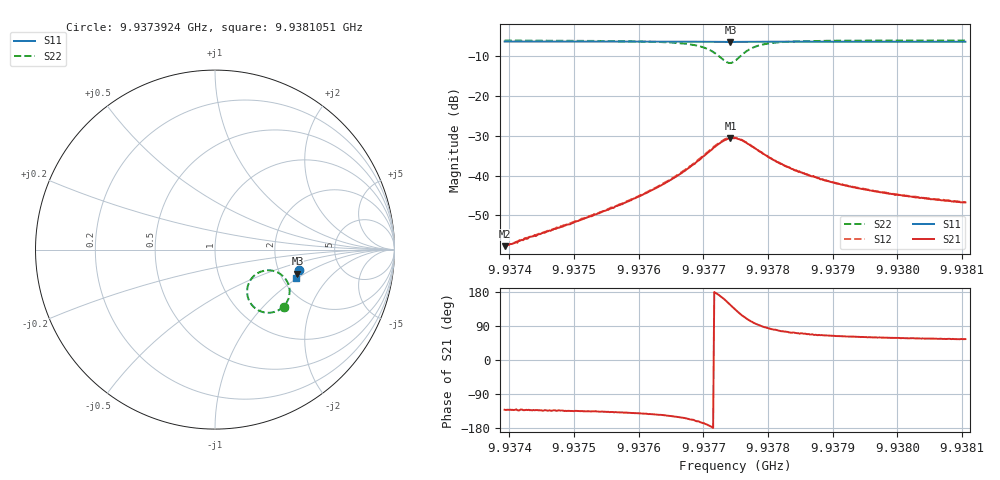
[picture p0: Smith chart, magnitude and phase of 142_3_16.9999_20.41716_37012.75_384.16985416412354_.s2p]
#  HZ  S  RI  R  50.00
! Rohde & Schwarz Vector Network Analyzer
! Rohde-Schwarz,ZNB20-2Port,1311601062101988,3.16
! Created: UTC 3/20/2024, 10:58:24 PM
! freq[Hz]  re:S11  im:S11  re:S21  im:S21  re:S12  im:S12  re:S22  im:S22
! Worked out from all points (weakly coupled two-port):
!   401 points, 9.9373924 GHz to 9.9381051 GHz, reference 50 ohm
!   highest |S21| = -30.57 dB at 9.9377416 GHz (marker M1); lowest = -57.7 dB at 9.9373924 GHz (marker M2)
!   lowest |S11| = -6.4 dB at 9.9377416 GHz (marker M3), VSWR 2.83, Z = 124 - j43.1 ohm
!   |S11| at or under -10 dB: nowhere
!   |S22| runs from -11.7 to -6.0 dB; largest |S21 - S12| = 0.0014
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9.93739245e9  0.4698 -0.1123  -0.000855 -0.000977  -0.000877 -0.000982  0.3824 -0.3175
9.93751182e9  0.4671 -0.1205  -0.00197 -0.00199  -0.00205 -0.00202  0.3665 -0.3299
9.93757595e9  0.4657 -0.1249  -0.00336 -0.00293  -0.00342 -0.00294  0.3513 -0.339
9.93763118e9  0.4642 -0.1287  -0.00594 -0.00421  -0.00612 -0.00423  0.3262 -0.3484
9.9376686e9  0.463 -0.1314  -0.0099 -0.00513  -0.0102 -0.00506  0.2913 -0.3518
9.9376882e9  0.4619 -0.1326  -0.0138 -0.00477  -0.0142 -0.00481  0.2599 -0.3459
9.93770245e9  0.4612 -0.1336  -0.0178 -0.00361  -0.0183 -0.00328  0.2286 -0.3301
9.93771492e9  0.4602 -0.1341  -0.0221 -0.000421  -0.0226 8.34e-06  0.198 -0.2981
9.93772561e9  0.4596 -0.1343  -0.0251 0.00483  -0.0256 0.00572  0.1801 -0.2502
9.93773452e9  0.4591 -0.1342  -0.0259 0.0111  -0.0262 0.0125  0.1844 -0.1976
9.93774165e9  0.459 -0.1338  -0.0243 0.0169  -0.0239 0.0181  0.2072 -0.1566
9.93774877e9  0.4591 -0.1337  -0.0205 0.0213  -0.02 0.0223  0.245 -0.1273
9.93775768e9  0.4597 -0.1338  -0.0142 0.0243  -0.0134 0.025  0.2983 -0.1153
9.93776837e9  0.4603 -0.1344  -0.00741 0.024  -0.00673 0.0245  0.351 -0.128
9.93778797e9  0.4608 -0.1359  -9.92e-05 0.0199  0.000412 0.0198  0.3998 -0.1743
9.937804e9  0.4607 -0.1375  0.00229 0.0164  0.00252 0.0164  0.4124 -0.2058
9.93782716e9  0.4603 -0.1393  0.00344 0.0127  0.00375 0.0126  0.4158 -0.2372
9.9378432e9  0.4601 -0.1405  0.00375 0.011  0.00395 0.0109  0.4145 -0.2522
9.93786814e9  0.4594 -0.1423  0.00369 0.00902  0.00396 0.00897  0.4108 -0.2684
9.93792159e9  0.4581 -0.1461  0.0035 0.00658  0.00364 0.00659  0.4026 -0.2894
9.93798751e9  0.4566 -0.1505  0.00307 0.00506  0.00319 0.00506  0.3941 -0.304
9.9381051e9  0.4535 -0.1583  0.00263 0.00378  0.00273 0.00373  0.3828 -0.3193
